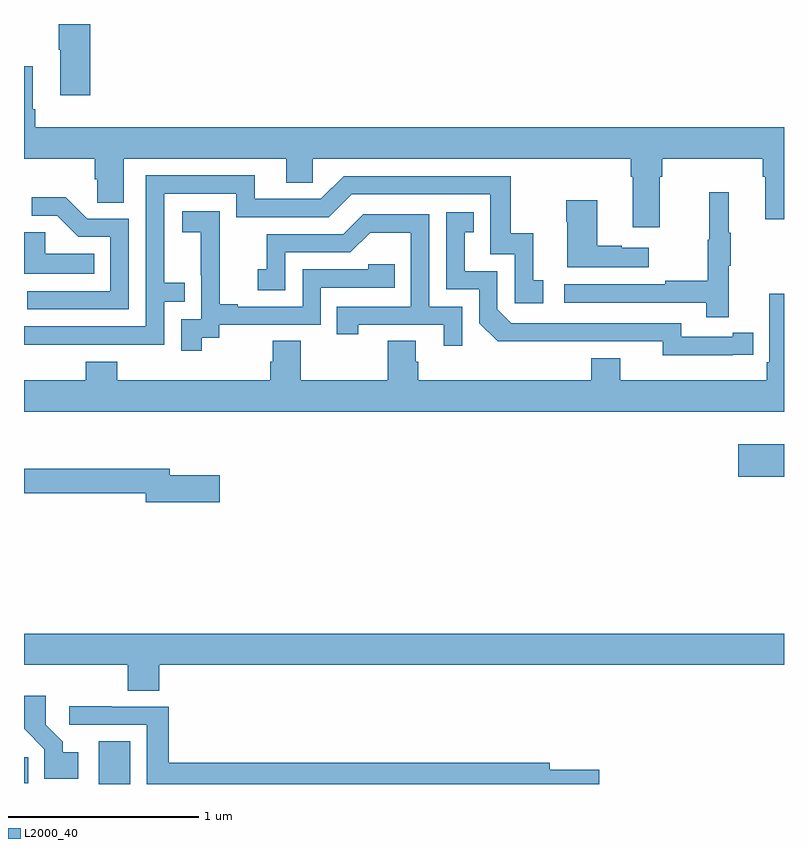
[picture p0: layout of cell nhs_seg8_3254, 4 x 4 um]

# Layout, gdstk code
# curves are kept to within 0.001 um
import gdstk
lib = gdstk.Library(unit=1e-6, precision=1e-09)
def R(c, l, rs):  # rectangles x0, y0, x1, y1
    for r in rs: c.add(gdstk.rectangle(r[:2], r[2:], *l))
def P(c, l, *ps):  # polygons
    for p in ps: c.add(gdstk.Polygon(p, *l))
L2000_40 = (2000, 40)

nhs_seg8_3254 = lib.new_cell('nhs_seg8_3254')
R(nhs_seg8_3254, L2000_40, [(313.394,1087.9,313.558,1088.126), (313,1087.904,313.022,1088.042), (316.758,1089.518,317,1089.688)])
P(nhs_seg8_3254, L2000_40, [(313.349,1091.9),(313.183,1091.9),(313.183,1091.764),(313.19,1091.764),(313.19,1091.526),(313.349,1091.526)],
  [(316.345,1091.096),(316.358,1091.096),(316.358,1091.192),(316.889,1091.192),(316.889,1091.096),(316.901,1091.096),(316.901,1090.872),(317,1090.872),(317,1091.356),(313.058,1091.356),(313.058,1091.452),(313.045,1091.452),(313.045,1091.677),(313,1091.677),(313,1091.192),(313.373,1091.192),(313.373,1091.083),(313.386,1091.083),(313.386,1090.96),(313.525,1090.96),(313.525,1091.192),(314.381,1091.192),(314.381,1091.065),(314.52,1091.065),(314.52,1091.192),(316.193,1091.192),(316.193,1091.096),(316.205,1091.096),(316.205,1090.83),(316.345,1090.83)],
  [(313.241,1090.212),(313.737,1090.212),(313.737,1090.437),(313.847,1090.437),(313.847,1090.538),(313.737,1090.538),(313.737,1091.007),(314.118,1091.007),(314.118,1090.884),(314.604,1090.884),(314.724,1091.004),(315.453,1091.004),(315.453,1090.689),(315.582,1090.689),(315.582,1090.431),(315.733,1090.431),(315.733,1090.551),(315.68,1090.551),(315.68,1090.798),(315.562,1090.798),(315.562,1091.1),(314.682,1091.1),(314.562,1090.98),(314.215,1090.98),(314.215,1091.103),(313.641,1091.103),(313.641,1090.308),(313,1090.308),(313,1090.211)],
  [(316.709,1090.627),(316.72,1090.627),(316.72,1090.801),(316.709,1090.801),(316.709,1091.014),(316.606,1091.014),(316.606,1090.764),(316.599,1090.764),(316.599,1090.55),(316.375,1090.55),(316.375,1090.53),(315.843,1090.53),(315.843,1090.434),(316.591,1090.434),(316.591,1090.356),(316.709,1090.356)],
  [(313.551,1090.875),(313.332,1090.875),(313.219,1090.988),(313.041,1090.988),(313.041,1090.89),(313.175,1090.89),(313.286,1090.779),(313.455,1090.779),(313.455,1090.494),(313.017,1090.494),(313.017,1090.398),(313.551,1090.398)],
  [(316.288,1090.723),(316.145,1090.723),(316.145,1090.733),(316.018,1090.733),(316.018,1090.972),(315.853,1090.972),(315.853,1090.859),(315.86,1090.859),(315.86,1090.619),(316.288,1090.619)],
  [(313.936,1090.249),(314.028,1090.249),(314.028,1090.317),(314.562,1090.317),(314.562,1090.512),(314.951,1090.512),(314.951,1090.635),(314.811,1090.635),(314.811,1090.608),(314.466,1090.608),(314.466,1090.413),(314.125,1090.413),(314.125,1090.426),(314.03,1090.426),(314.03,1090.709),(314.031,1090.709),(314.031,1090.915),(313.833,1090.915),(313.833,1090.805),(313.931,1090.805),(313.931,1090.577),(313.932,1090.577),(313.932,1090.347),(313.827,1090.347),(313.827,1090.179),(313.936,1090.179)],
  [(316.73,1090.158),(316.838,1090.158),(316.838,1090.274),(316.73,1090.274),(316.73,1090.254),(316.458,1090.254),(316.458,1090.326),(315.564,1090.326),(315.492,1090.398),(315.492,1090.599),(315.319,1090.599),(315.319,1090.803),(315.368,1090.803),(315.368,1090.909),(315.222,1090.909),(315.222,1090.503),(315.396,1090.503),(315.396,1090.326),(315.494,1090.229),(316.362,1090.23),(316.362,1090.157)],
  [(315.306,1090.413),(315.132,1090.413),(315.132,1090.899),(314.786,1090.899),(314.681,1090.794),(314.278,1090.794),(314.278,1090.609),(314.229,1090.609),(314.229,1090.5),(314.376,1090.5),(314.376,1090.698),(314.718,1090.698),(314.822,1090.802),(315.036,1090.802),(315.036,1090.413),(314.647,1090.413),(314.647,1090.266),(314.758,1090.266),(314.758,1090.317),(315.209,1090.317),(315.209,1090.206),(315.306,1090.206)],
  [(313.37,1090.69),(313.113,1090.69),(313.113,1090.805),(313,1090.805),(313,1090.586),(313.37,1090.586)],
  [(317,1090.48),(316.923,1090.48),(316.923,1090.12),(316.91,1090.12),(316.91,1090.024),(316.138,1090.024),(316.138,1090.141),(315.986,1090.141),(315.986,1090.024),(315.074,1090.024),(315.074,1090.122),(315.061,1090.122),(315.061,1090.232),(314.914,1090.232),(314.914,1090.024),(314.457,1090.024),(314.457,1090.232),(314.309,1090.232),(314.309,1090.122),(314.297,1090.122),(314.297,1090.024),(313.49,1090.024),(313.49,1090.123),(313.325,1090.123),(313.325,1090.024),(313,1090.024),(313,1089.86),(317,1089.86)],
  [(314.029,1089.525),(313.768,1089.525),(313.768,1089.559),(313,1089.559),(313,1089.43),(313.64,1089.43),(313.64,1089.383),(314.029,1089.383)],
  [(313.712,1088.528),(317,1088.528),(317,1088.692),(313,1088.692),(313,1088.528),(313.547,1088.528),(313.547,1088.392),(313.712,1088.392)],
  [(313.285,1088.068),(313.204,1088.068),(313.204,1088.123),(313.114,1088.213),(313.114,1088.365),(313,1088.365),(313,1088.19),(313.107,1088.083),(313.107,1087.928),(313.285,1087.928)],
  [(316.027,1087.976),(315.766,1087.976),(315.766,1088.012),(313.763,1088.012),(313.763,1088.307),(313.463,1088.307),(313.463,1088.31),(313.239,1088.31),(313.239,1088.211),(313.647,1088.211),(313.647,1087.9),(316.027,1087.9)])

lib.write_gds('nhs_seg8_3254.gds')
